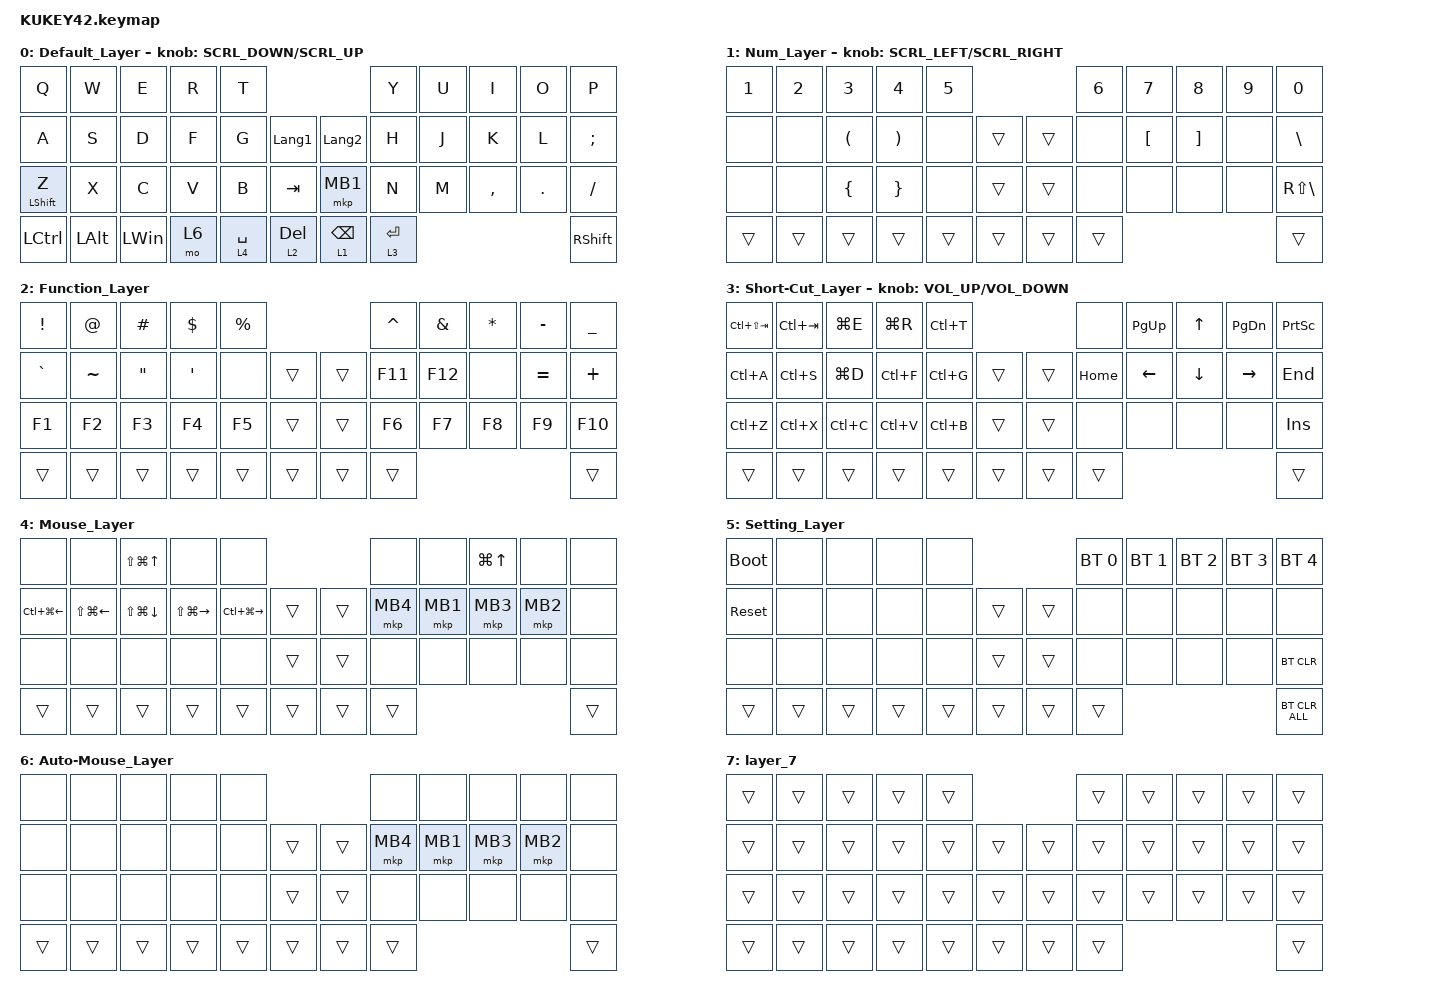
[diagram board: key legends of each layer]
#define ZMK_POINTING_DEFAULT_SCRL_VAL 80

#include <behaviors.dtsi>
#include <dt-bindings/zmk/bt.h>
#include <dt-bindings/zmk/keys.h>
#include <dt-bindings/zmk/pointing.h>

#define MOUSE 4
#define SCROLL 5
#define NUM 6

&mt {
    flavor = "balanced";
    quick-tap-ms = <0>;
};

/ {
    combos {
        compatible = "zmk,combos";

        Esc {
            bindings = <&kp ESCAPE>;
            key-positions = <0 1>;
        };

        Win {
            bindings = <&kp LEFT_GUI>;
            key-positions = <1 2>;
        };

        Tab {
            bindings = <&kp TAB>;
            key-positions = <11 12>;
        };

        To-Setting {
            bindings = <&mo 5>;
            key-positions = <39 40>;
        };
    };

    macros {
        to_layer_0: to_layer_0 {
            compatible = "zmk,behavior-macro-one-param";
            #binding-cells = <1>;
            bindings = <&to 0 &macro_param_1to1 &kp MACRO_PLACEHOLDER>;
            label = "TO_LAYER_0";
        };
    };

    behaviors {
        lt_to_layer_0: lt_to_layer_0 {
            compatible = "zmk,behavior-hold-tap";
            label = "LAYER_TAP_TO_0";
            bindings = <&mo>, <&to_layer_0>;

            #binding-cells = <2>;
            tapping-term-ms = <200>;
        };

        tapdance_kana: tapdance_kana {
            compatible = "zmk,behavior-tap-dance";
            label = "TAPDANCE_KANA";
            #binding-cells = <0>;
            bindings = <&kp INT2>, <&kp LANGUAGE_2>, <&sl 1>;

            tapping-term-ms = <400>;
        };

        WheelScroll: WheelScroll {
            compatible = "zmk,behavior-sensor-rotate-var";
            label = "WHEELSCROLL";
            #sensor-binding-cells = <2>;
            bindings = <&msc>, <&msc>;

            tap-ms = <20>;
        };
    };

    keymap {
        compatible = "zmk,keymap";

        Default_Layer {
            bindings = <
&kp Q             &kp W         &kp E         &kp R  &kp T                                             &kp Y        &kp U  &kp I      &kp O    &kp P
&kp A             &kp S         &kp D         &kp F  &kp G        &kp LANGUAGE_1      &kp LANGUAGE_2   &kp H        &kp J  &kp K      &kp L    &kp SEMICOLON
&mt LEFT_SHIFT Z  &kp X         &kp C         &kp V  &kp B        &kp TAB             &mkp MB1         &kp N        &kp M  &kp COMMA  &kp DOT  &kp SLASH
&kp LCTRL         &kp LEFT_ALT  &kp LEFT_WIN  &mo 6  &lt 4 SPACE  &lt 2 DELETE        &lt 1 BACKSPACE  &lt 3 ENTER                             &kp RIGHT_SHIFT
            >;

            sensor-bindings = <&WheelScroll SCRL_DOWN SCRL_UP>;
        };

        Num_Layer {
            bindings = <
&kp NUMBER_1  &kp NUMBER_2  &kp NUMBER_3          &kp NUMBER_4           &kp N5                      &kp NUMBER_6  &kp NUMBER_7      &kp NUMBER_8       &kp NUMBER_9  &kp NUMBER_0
&none         &none         &kp LEFT_PARENTHESIS  &kp RIGHT_PARENTHESIS  &none   &trans      &trans  &none         &kp LEFT_BRACKET  &kp RIGHT_BRACKET  &none         &kp BACKSLASH
&none         &none         &kp LEFT_BRACE        &kp RIGHT_BRACE        &none   &trans      &trans  &none         &none             &none              &none         &kp RS(BACKSLASH)
&trans        &trans        &trans                &trans                 &trans  &trans      &trans  &trans                                                           &trans
            >;

            sensor-bindings = <&WheelScroll SCRL_LEFT SCRL_RIGHT>;
        };

        Function_Layer {
            bindings = <
&kp EXCLAMATION  &kp AT_SIGN  &kp HASH           &kp DOLLAR  &kp PERCENT                      &kp CARET  &kp AMPERSAND  &kp ASTERISK  &kp MINUS  &kp UNDERSCORE
&kp GRAVE        &kp TILDE    &kp DOUBLE_QUOTES  &kp SQT     &none        &trans      &trans  &kp F11    &kp F12        &none         &kp EQUAL  &kp PLUS
&kp F1           &kp F2       &kp F3             &kp F4      &kp F5       &trans      &trans  &kp F6     &kp F7         &kp F8        &kp F9     &kp F10
&trans           &trans       &trans             &trans      &trans       &trans      &trans  &trans                                             &trans
            >;
        };

        Short-Cut_Layer {
            bindings = <
&kp LC(LS(TAB))  &kp LC(TAB)  &kp LG(E)  &kp LG(R)  &kp LC(T)                      &none     &kp PAGE_UP     &kp UP_ARROW  &kp PAGE_DOWN    &kp PRINTSCREEN
&kp LC(A)        &kp LC(S)    &kp LG(D)  &kp LC(F)  &kp LC(G)  &trans      &trans  &kp HOME  &kp LEFT_ARROW  &kp DOWN      &kp RIGHT_ARROW  &kp END
&kp LC(Z)        &kp LC(X)    &kp LC(C)  &kp LC(V)  &kp LC(B)  &trans      &trans  &none     &none           &none         &none            &kp INSERT
&trans           &trans       &trans     &trans     &trans     &trans      &trans  &trans                                                   &trans
            >;

            sensor-bindings = <&inc_dec_kp C_VOLUME_UP C_VOLUME_DOWN>;
        };

        Mouse_Layer {
            bindings = <
&none                   &none                   &kp LS(LG(UP_ARROW))    &none                    &none                                        &none     &none     &kp LG(UP_ARROW)  &none     &none
&kp LC(LG(LEFT_ARROW))  &kp LS(LG(LEFT_ARROW))  &kp LS(LG(DOWN_ARROW))  &kp LS(LG(RIGHT_ARROW))  &kp LC(LG(RIGHT_ARROW))  &trans      &trans  &mkp MB4  &mkp MB1  &mkp MB3          &mkp MB2  &none
&none                   &none                   &none                   &none                    &none                    &trans      &trans  &none     &none     &none             &none     &none
&trans                  &trans                  &trans                  &trans                   &trans                   &trans      &trans  &trans                                          &trans
            >;
        };

        Setting_Layer {
            bindings = <
&bootloader  &none   &none   &none   &none                       &bt BT_SEL 0  &bt BT_SEL 1  &bt BT_SEL 2  &bt BT_SEL 3  &bt BT_SEL 4
&sys_reset   &none   &none   &none   &none   &trans      &trans  &none         &none         &none         &none         &none
&none        &none   &none   &none   &none   &trans      &trans  &none         &none         &none         &none         &bt BT_CLR
&trans       &trans  &trans  &trans  &trans  &trans      &trans  &trans                                                  &bt BT_CLR_ALL
            >;
        };

        Auto-Mouse_Layer {
            bindings = <
&none   &none   &none   &none   &none                       &none     &none     &none     &none     &none
&none   &none   &none   &none   &none   &trans      &trans  &mkp MB4  &mkp MB1  &mkp MB3  &mkp MB2  &none
&none   &none   &none   &none   &none   &trans      &trans  &none     &none     &none     &none     &none
&trans  &trans  &trans  &trans  &trans  &trans      &trans  &trans                                  &trans
            >;
        };

        layer_7 {
            bindings = <
&trans  &trans  &trans  &trans  &trans                      &trans  &trans  &trans  &trans  &trans
&trans  &trans  &trans  &trans  &trans  &trans      &trans  &trans  &trans  &trans  &trans  &trans
&trans  &trans  &trans  &trans  &trans  &trans      &trans  &trans  &trans  &trans  &trans  &trans
&trans  &trans  &trans  &trans  &trans  &trans      &trans  &trans                          &trans
            >;
        };
    };
};
